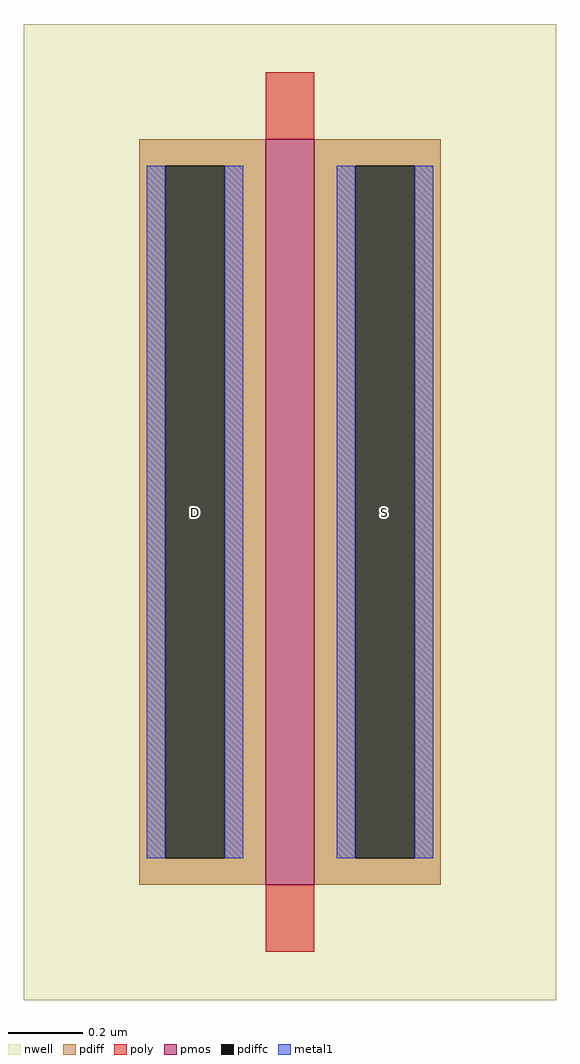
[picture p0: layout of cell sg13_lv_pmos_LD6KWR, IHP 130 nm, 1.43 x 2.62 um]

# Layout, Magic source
magic
tech ihp-sg13g2
magscale 1 2
<< nwell >>
rect -143 -262 143 262
<< pmos >>
rect -13 -200 13 200
<< pdiff >>
rect -81 186 -13 200
rect -81 -186 -67 186
rect -35 -186 -13 186
rect -81 -200 -13 -186
rect 13 186 81 200
rect 13 -186 35 186
rect 67 -186 81 186
rect 13 -200 81 -186
<< pdiffc >>
rect -67 -186 -35 186
rect 35 -186 67 186
<< poly >>
rect -13 200 13 236
rect -13 -236 13 -200
<< metal1 >>
rect -77 -186 -67 186
rect -35 -186 -25 186
rect 25 -186 35 186
rect 67 -186 77 186
<< labels >>
rlabel pdiffc -51 0 -51 0 0 D
port 1 nsew
rlabel pdiffc 51 0 51 0 0 S
port 2 nsew
<< properties >>
string gencell sg13_lv_pmos
string library sg13g2
string parameters w 2 l 0.13 m 1 nf 1 diffcov 100 polycov 100 guard 0 glc 1 grc 1 gtc 1 gbc 1 tbcov 100 rlcov 100 topc 0 botc 0 poverlap 0 doverlap 1 lmin 0.13 wmin 0.15 class mosfet compatible {sg13_lv_pmos sg13_hv_pmos} full_metal 1 conn_gates 0 gate_ring 0 ccols 1 viasrc 0 viadrn 0 viagate 0 viagb 0 viagr 0 viagl 0 viagt 0 doports 1
<< end >>
